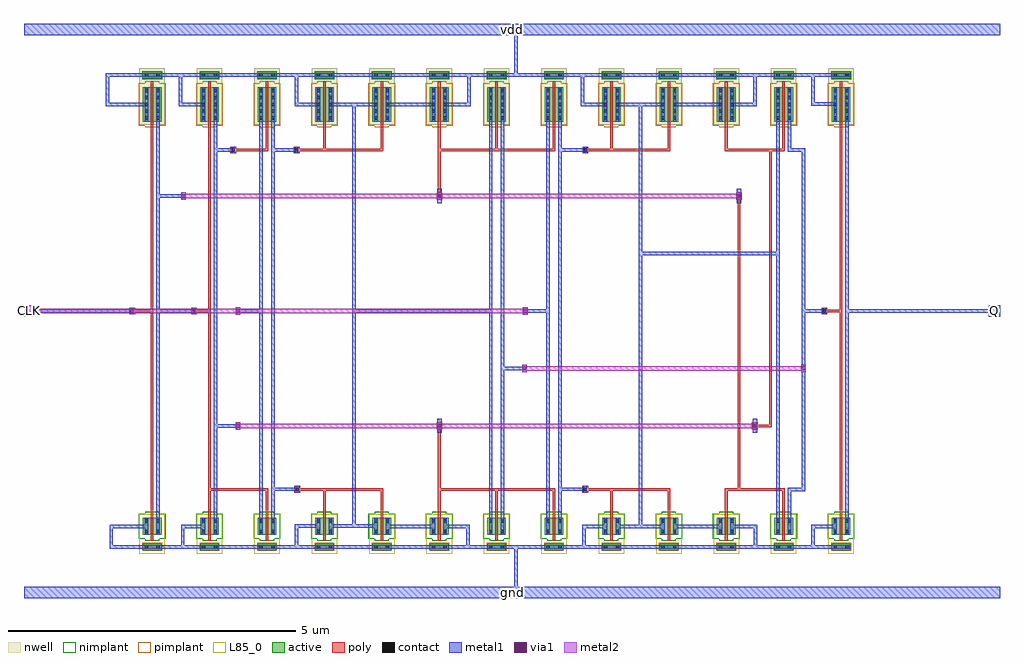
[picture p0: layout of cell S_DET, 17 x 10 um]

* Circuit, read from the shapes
.subckt S_DET CLK D Q gnd vdd
M1 nmos1v_3_CDNS_776248330161_18/D_drain_1 CLK gnd gnd nfet w=0.3u l=0.045u
M2 nmos1v_3_CDNS_776248330161_21/D_drain_1 nmos1v_3_CDNS_776248330161_18/D_drain_1 gnd gnd nfet w=0.3u l=0.045u
M3 pmos1v_3_CDNS_776248330160_4/D_drain_1 nmos1v_3_CDNS_776248330161_18/D_drain_1 D gnd nfet w=0.3u l=0.045u
M4 nmos1v_3_CDNS_776248330161_20/D_drain_1 pmos1v_3_CDNS_776248330160_4/D_drain_1 gnd gnd nfet w=0.3u l=0.045u
M5 nmos1v_3_CDNS_776248330161_19/D_drain_1 pmos1v_3_CDNS_776248330160_4/D_drain_1 nmos1v_3_CDNS_776248330161_20/D_drain_1 gnd nfet w=0.3u l=0.045u
M6 gnd nmos1v_3_CDNS_776248330161_21/D_drain_1 nmos1v_3_CDNS_776248330161_19/D_drain_1 gnd nfet w=0.3u l=0.045u
M7 pmos1v_3_CDNS_776248330160_0/D_drain_1 nmos1v_3_CDNS_776248330161_21/D_drain_1 nmos1v_3_CDNS_776248330161_20/D_drain_1 gnd nfet w=0.3u l=0.045u
M8 pmos1v_3_CDNS_776248330160_2/D_drain_1 nmos1v_3_CDNS_776248330161_21/D_drain_1 D gnd nfet w=0.3u l=0.045u
M9 nmos1v_3_CDNS_776248330161_15/D_drain_1 pmos1v_3_CDNS_776248330160_2/D_drain_1 gnd gnd nfet w=0.3u l=0.045u
M10 nmos1v_3_CDNS_776248330161_14/D_drain_1 pmos1v_3_CDNS_776248330160_2/D_drain_1 nmos1v_3_CDNS_776248330161_15/D_drain_1 gnd nfet w=0.3u l=0.045u
M11 gnd nmos1v_3_CDNS_776248330161_18/D_drain_1 nmos1v_3_CDNS_776248330161_14/D_drain_1 gnd nfet w=0.3u l=0.045u
M12 pmos1v_3_CDNS_776248330160_0/D_drain_1 nmos1v_3_CDNS_776248330161_18/D_drain_1 nmos1v_3_CDNS_776248330161_15/D_drain_1 gnd nfet w=0.3u l=0.045u
M13 Q pmos1v_3_CDNS_776248330160_0/D_drain_1 gnd gnd nfet w=0.3u l=0.045u
M14 nmos1v_3_CDNS_776248330161_18/D_drain_1 CLK vdd vdd pfet w=0.6u l=0.045u
M15 nmos1v_3_CDNS_776248330161_21/D_drain_1 nmos1v_3_CDNS_776248330161_18/D_drain_1 vdd vdd pfet w=0.6u l=0.045u
M16 pmos1v_3_CDNS_776248330160_4/D_drain_1 nmos1v_3_CDNS_776248330161_21/D_drain_1 D vdd pfet w=0.6u l=0.045u
M17 nmos1v_3_CDNS_776248330161_20/D_drain_1 pmos1v_3_CDNS_776248330160_4/D_drain_1 vdd vdd pfet w=0.6u l=0.045u
M18 pmos1v_3_CDNS_776248330160_7/D_drain_1 pmos1v_3_CDNS_776248330160_4/D_drain_1 nmos1v_3_CDNS_776248330161_20/D_drain_1 vdd pfet w=0.6u l=0.045u
M19 vdd nmos1v_3_CDNS_776248330161_18/D_drain_1 pmos1v_3_CDNS_776248330160_7/D_drain_1 vdd pfet w=0.6u l=0.045u
M20 pmos1v_3_CDNS_776248330160_0/D_drain_1 nmos1v_3_CDNS_776248330161_18/D_drain_1 nmos1v_3_CDNS_776248330161_20/D_drain_1 vdd pfet w=0.6u l=0.045u
M21 pmos1v_3_CDNS_776248330160_2/D_drain_1 nmos1v_3_CDNS_776248330161_18/D_drain_1 D vdd pfet w=0.6u l=0.045u
M22 nmos1v_3_CDNS_776248330161_15/D_drain_1 pmos1v_3_CDNS_776248330160_2/D_drain_1 vdd vdd pfet w=0.6u l=0.045u
M23 pmos1v_3_CDNS_776248330160_12/D_drain_1 pmos1v_3_CDNS_776248330160_2/D_drain_1 nmos1v_3_CDNS_776248330161_15/D_drain_1 vdd pfet w=0.6u l=0.045u
M24 vdd nmos1v_3_CDNS_776248330161_21/D_drain_1 pmos1v_3_CDNS_776248330160_12/D_drain_1 vdd pfet w=0.6u l=0.045u
M25 pmos1v_3_CDNS_776248330160_0/D_drain_1 nmos1v_3_CDNS_776248330161_21/D_drain_1 nmos1v_3_CDNS_776248330161_15/D_drain_1 vdd pfet w=0.6u l=0.045u
M26 Q pmos1v_3_CDNS_776248330160_0/D_drain_1 vdd vdd pfet w=0.6u l=0.045u
.ends

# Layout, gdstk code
from math import pi, radians
import gdstk
lib = gdstk.Library(unit=1e-6, precision=5e-10)
def R(c, l, rs):  # rectangles x0, y0, x1, y1
    for r in rs: c.add(gdstk.rectangle(r[:2], r[2:], *l))
def A(c, l, x, y, w, h, nx, ny, dx, dy):  # array of equal rectangles
    R(c, l, [(x+i*dx, y+j*dy, x+i*dx+w, y+j*dy+h) for i in range(nx) for j in range(ny)])
def P(c, l, *ps):  # polygons
    for p in ps: c.add(gdstk.Polygon(p, *l))
active = (1, 0)
nwell = (2, 0)
poly = (3, 0)
nimplant = (4, 0)
pimplant = (5, 0)
contact = (6, 0)
metal1 = (7, 0)
via1 = (8, 0)
metal2 = (9, 0)
L85_0 = (85, 0)

pmos1v_3_cdns_7762483301 = lib.new_cell('pmos1v_3_CDNS_776248330160')
R(pmos1v_3_cdns_7762483301, active, [(-0.14,0,0,0.6), (0,0,0.045,0.6), (0.045,0,0.185,0.6), (-0.14,0.75,0.185,0.87)])
R(pmos1v_3_cdns_7762483301, nwell, [(-0.2,-0.06,0.245,0.93)])
R(pmos1v_3_cdns_7762483301, poly, [(0,-0.1,0.045,-0.05), (0,-0.05,0.045,0), (0,0,0.045,0.6), (0,0.6,0.045,0.65), (0,0.65,0.045,0.7)])
R(pmos1v_3_cdns_7762483301, nimplant, [(-0.15,0.74,0.195,0.88)])
R(pmos1v_3_cdns_7762483301, pimplant, [(-0.1,-0.1,0.145,0.7), (-0.21,-0.07,0.255,0.67)])
A(pmos1v_3_cdns_7762483301, contact, -0.11, 0.03, 0.06, 0.06, 1, 5, 0, 0.12)
A(pmos1v_3_cdns_7762483301, contact, 0.095, 0.03, 0.06, 0.06, 1, 5, 0, 0.12)
R(pmos1v_3_cdns_7762483301, contact, [(-0.11,0.78,-0.05,0.84), (0.095,0.78,0.155,0.84)])
R(pmos1v_3_cdns_7762483301, metal1, [(-0.11,0,-0.05,0.6), (0.095,0,0.155,0.6), (-0.14,0.78,0.185,0.84)])
pmos1v_3_cdns_7762483301.add(gdstk.Label('B_topTap', (0.0225,0.81), layer=1, texttype=0))
pmos1v_3_cdns_7762483301.add(gdstk.Label('D_drain_1', (0.115,0.3), layer=1, texttype=0))
pmos1v_3_cdns_7762483301.add(gdstk.Label('S_source_0', (-0.07,0.3), layer=1, texttype=0))
pmos1v_3_cdns_7762483301.add(gdstk.Label('G_gate_1', (0.0225,-0.075), layer=3, texttype=0))
pmos1v_3_cdns_7762483301.add(gdstk.Label('G_gate_1', (0.0225,0.675), layer=3, texttype=0))
pmos1v_3_cdns_7762483301.add(gdstk.Label('B_topTap', (0.0225,0.81), layer=7, texttype=0))
pmos1v_3_cdns_7762483301.add(gdstk.Label('D_drain_1', (0.125,0.3), layer=7, texttype=0))
pmos1v_3_cdns_7762483301.add(gdstk.Label('S_source_0', (-0.08,0.3), layer=7, texttype=0))
pmos1v_3_cdns_7762483301.add(gdstk.Label('B_topTap', (0.0225,0.435), layer=2, texttype=0))

nmos1v_3_cdns_7762483301 = lib.new_cell('nmos1v_3_CDNS_776248330161')
R(nmos1v_3_cdns_7762483301, active, [(-0.14,-0.27,0.185,-0.15), (-0.14,0,0,0.3), (0,0,0.045,0.3), (0.045,0,0.185,0.3)])
R(nmos1v_3_cdns_7762483301, poly, [(0,-0.1,0.045,-0.05), (0,-0.05,0.045,0), (0,0,0.045,0.3), (0,0.3,0.045,0.35), (0,0.35,0.045,0.4)])
R(nmos1v_3_cdns_7762483301, nimplant, [(-0.1,-0.1,0.145,0.4), (-0.21,-0.07,0.255,0.37)])
R(nmos1v_3_cdns_7762483301, pimplant, [(-0.15,-0.28,0.195,-0.14)])
R(nmos1v_3_cdns_7762483301, contact, [(-0.11,-0.24,-0.05,-0.18), (0.095,-0.24,0.155,-0.18), (-0.11,0.03,-0.05,0.09), (0.095,0.03,0.155,0.09), (-0.11,0.21,-0.05,0.27), (0.095,0.21,0.155,0.27)])
R(nmos1v_3_cdns_7762483301, metal1, [(-0.14,-0.24,0.185,-0.18), (-0.11,0,-0.05,0.3), (0.095,0,0.155,0.3)])
R(nmos1v_3_cdns_7762483301, L85_0, [(-0.2,-0.33,0.245,0.36)])
nmos1v_3_cdns_7762483301.add(gdstk.Label('B_botTap', (0.0225,-0.21), layer=1, texttype=0))
nmos1v_3_cdns_7762483301.add(gdstk.Label('D_drain_1', (0.115,0.15), layer=1, texttype=0))
nmos1v_3_cdns_7762483301.add(gdstk.Label('S_source_0', (-0.07,0.15), layer=1, texttype=0))
nmos1v_3_cdns_7762483301.add(gdstk.Label('G_gate_1', (0.0225,-0.075), layer=3, texttype=0))
nmos1v_3_cdns_7762483301.add(gdstk.Label('G_gate_1', (0.0225,0.375), layer=3, texttype=0))
nmos1v_3_cdns_7762483301.add(gdstk.Label('B_botTap', (0.0225,-0.21), layer=7, texttype=0))
nmos1v_3_cdns_7762483301.add(gdstk.Label('D_drain_1', (0.125,0.15), layer=7, texttype=0))
nmos1v_3_cdns_7762483301.add(gdstk.Label('S_source_0', (-0.08,0.15), layer=7, texttype=0))
nmos1v_3_cdns_7762483301.add(gdstk.Label('B_botTap', (0.0225,0.015), layer=85, texttype=0))

m1_po_cdns_776248330160 = lib.new_cell('M1_PO_CDNS_776248330160')
R(m1_po_cdns_776248330160, poly, [(-0.05,-0.06,0.05,0.06)])
R(m1_po_cdns_776248330160, contact, [(-0.03,-0.03,0.03,0.03)])
R(m1_po_cdns_776248330160, metal1, [(-0.03,-0.06,0.03,0.06)])

m2_m1_cdns_776248330161 = lib.new_cell('M2_M1_CDNS_776248330161')
R(m2_m1_cdns_776248330161, metal1, [(-0.04,-0.065,0.04,0.065)])
R(m2_m1_cdns_776248330161, via1, [(-0.035,-0.035,0.035,0.035)])
R(m2_m1_cdns_776248330161, metal2, [(-0.04,-0.065,0.04,0.065)])

m2_m1_cdns_776248330162 = lib.new_cell('M2_M1_CDNS_776248330162')
R(m2_m1_cdns_776248330162, metal1, [(-0.04,-0.125,0.04,0.125)])
R(m2_m1_cdns_776248330162, via1, [(-0.035,-0.035,0.035,0.035)])
R(m2_m1_cdns_776248330162, metal2, [(-0.04,-0.065,0.04,0.065)])

m1_po_cdns_776248330163 = lib.new_cell('M1_PO_CDNS_776248330163')
R(m1_po_cdns_776248330163, poly, [(-0.05,-0.06,0.05,0.06)])
R(m1_po_cdns_776248330163, contact, [(-0.03,-0.03,0.03,0.03)])
R(m1_po_cdns_776248330163, metal1, [(-0.04,-0.125,0.04,0.125)])

s_det = lib.new_cell('S_DET')
P(s_det, poly, [(4.75,7.78),(4.75,7.825),(6.245,7.825),(6.255,7.815),(6.255,7.79),(6.245,7.78)],
  [(6.22,7.78),(6.21,7.79),(6.21,8.2),(6.255,8.2),(6.255,7.79),(6.245,7.78)])
R(s_det, metal1, [(0,0,17,0.2), (0,4.9,0.2,5.1), (16.8,4.9,17,5.1), (0,9.8,17,10)])
R(s_det, metal2, [(0,4.9,0.2,5.1)])
s_det.add(gdstk.FlexPath([(13.0025,2.9975),(13.0025,7.8025)], 0.045, ends="extended", simple_path=True, layer=3, datatype=0))  # poly
s_det.add(gdstk.FlexPath([(12.2325,1.8925),(12.4525,1.8925)], 0.045, ends="extended", simple_path=True, layer=3, datatype=0))  # poly
s_det.add(gdstk.FlexPath([(12.4525,1.8925),(13.2325,1.8925)], 0.045, ends="extended", simple_path=True, layer=3, datatype=0))  # poly
s_det.add(gdstk.FlexPath([(12.73,2.9975),(13.0025,2.9975)], 0.045, ends=(0, 0.0225), simple_path=True, layer=3, datatype=0))  # poly
s_det.add(gdstk.FlexPath([(13.0025,7.8025),(13.2325,7.8025)], 0.045, ends="extended", simple_path=True, layer=3, datatype=0))  # poly
s_det.add(gdstk.FlexPath([(14.2325,8.2),(14.2325,4.9975)], 0.045, ends=(0, 0.0225), simple_path=True, layer=3, datatype=0))  # poly
s_det.add(gdstk.FlexPath([(13.945,4.9975),(14.2325,4.9975)], 0.045, ends=(0, 0.0225), simple_path=True, layer=3, datatype=0))  # poly
s_det.add(gdstk.FlexPath([(7.2325,1.8925),(7.2325,3)], 0.045, ends=(0.0225, 0), simple_path=True, layer=3, datatype=0))  # poly
s_det.add(gdstk.FlexPath([(7.2325,7.8025),(9.2325,7.8025)], 0.045, ends="extended", simple_path=True, layer=3, datatype=0))  # poly
s_det.add(gdstk.FlexPath([(7.2325,7.8025),(7.2325,7.01)], 0.045, ends=(0.0225, 0), simple_path=True, layer=3, datatype=0))  # poly
s_det.add(gdstk.FlexPath([(11.2325,1.8925),(9.775,1.8925)], 0.045, ends=(0.0225, 0), simple_path=True, layer=3, datatype=0))  # poly
s_det.add(gdstk.FlexPath([(1.885,4.9975),(2.2325,4.9975)], 0.045, ends=(0, 0.0225), simple_path=True, layer=3, datatype=0))  # poly
s_det.add(gdstk.FlexPath([(2.2325,8.2),(2.2325,4.9975)], 0.045, ends=(0, 0.0225), simple_path=True, layer=3, datatype=0))  # poly
s_det.add(gdstk.FlexPath([(3.2325,1.8925),(3.2325,4.9975)], 0.045, ends="extended", simple_path=True, layer=3, datatype=0))  # poly
s_det.add(gdstk.FlexPath([(2.96,4.9975),(3.2325,4.9975)], 0.045, ends=(0, 0.0225), simple_path=True, layer=3, datatype=0))  # poly
s_det.add(gdstk.FlexPath([(4.2325,7.8025),(3.645,7.8025)], 0.045, ends=(0.0225, 0), simple_path=True, layer=3, datatype=0))  # poly
s_det.add(gdstk.FlexPath([(4.2325,8.2),(4.2325,7.8025)], 0.045, ends=(0, 0.0225), simple_path=True, layer=3, datatype=0))  # poly
s_det.add(gdstk.FlexPath([(4.2325,1.5),(4.2325,1.8925)], 0.045, ends=(0, 0.0225), simple_path=True, layer=3, datatype=0))  # poly
s_det.add(gdstk.FlexPath([(3.2325,1.5),(3.2325,1.8925)], 0.045, ends=(0, 0.0225), simple_path=True, layer=3, datatype=0))  # poly
s_det.add(gdstk.FlexPath([(4.2325,1.8925),(3.2325,1.8925)], 0.045, ends="extended", simple_path=True, layer=3, datatype=0))  # poly
s_det.add(gdstk.FlexPath([(6.2325,1.8925),(4.76,1.8925)], 0.045, ends=(0.0225, 0), simple_path=True, layer=3, datatype=0))  # poly
s_det.add(gdstk.FlexPath([(11.2325,1.5),(11.2325,1.8925)], 0.045, ends=(0, 0.0225), simple_path=True, layer=3, datatype=0))  # poly
s_det.add(gdstk.FlexPath([(10.2325,1.5),(10.2325,1.8925)], 0.045, ends=(0, 0.0225), simple_path=True, layer=3, datatype=0))  # poly
s_det.add(gdstk.FlexPath([(13.2325,1.8925),(13.2325,1.5)], 0.045, ends=(0.0225, 0), simple_path=True, layer=3, datatype=0))  # poly
s_det.add(gdstk.FlexPath([(12.4525,7.005),(12.4525,1.8925)], 0.045, ends=(0, 0.0225), simple_path=True, layer=3, datatype=0))  # poly
s_det.add(gdstk.FlexPath([(12.2325,1.5),(12.2325,1.8925)], 0.045, ends=(0, 0.0225), simple_path=True, layer=3, datatype=0))  # poly
s_det.add(gdstk.FlexPath([(14.2325,4.9975),(14.2325,1.5)], 0.045, ends=(0.0225, 0), simple_path=True, layer=3, datatype=0))  # poly
s_det.add(gdstk.FlexPath([(13.2325,7.8025),(13.2325,8.2)], 0.045, ends=(0.0225, 0), simple_path=True, layer=3, datatype=0))  # poly
s_det.add(gdstk.FlexPath([(12.2325,7.8025),(13.0025,7.8025)], 0.045, ends="extended", simple_path=True, layer=3, datatype=0))  # poly
s_det.add(gdstk.FlexPath([(12.2325,8.2),(12.2325,7.8025)], 0.045, ends=(0, 0.0225), simple_path=True, layer=3, datatype=0))  # poly
s_det.add(gdstk.FlexPath([(11.2325,8.2),(11.2325,7.8025)], 0.045, ends=(0, 0.0225), simple_path=True, layer=3, datatype=0))  # poly
s_det.add(gdstk.FlexPath([(9.2325,1.8925),(7.2325,1.8925)], 0.045, ends="extended", simple_path=True, layer=3, datatype=0))  # poly
s_det.add(gdstk.FlexPath([(9.2325,1.5),(9.2325,1.8925)], 0.045, ends=(0, 0.0225), simple_path=True, layer=3, datatype=0))  # poly
s_det.add(gdstk.FlexPath([(8.2325,7.8025),(8.2325,8.2)], 0.045, ends=(0.0225, 0), simple_path=True, layer=3, datatype=0))  # poly
s_det.add(gdstk.FlexPath([(10.2325,8.2),(10.2325,7.8025)], 0.045, ends=(0, 0.0225), simple_path=True, layer=3, datatype=0))  # poly
s_det.add(gdstk.FlexPath([(7.2325,8.2),(7.2325,7.8025)], 0.045, ends=(0, 0.0225), simple_path=True, layer=3, datatype=0))  # poly
s_det.add(gdstk.FlexPath([(8.2325,1.8925),(8.2325,1.5)], 0.045, ends=(0.0225, 0), simple_path=True, layer=3, datatype=0))  # poly
s_det.add(gdstk.FlexPath([(9.2325,7.8025),(9.2325,8.2)], 0.045, ends=(0.0225, 0), simple_path=True, layer=3, datatype=0))  # poly
s_det.add(gdstk.FlexPath([(7.2325,1.5),(7.2325,1.8925)], 0.045, ends=(0, 0.0225), simple_path=True, layer=3, datatype=0))  # poly
s_det.add(gdstk.FlexPath([(6.2325,1.5),(6.2325,1.8925)], 0.045, ends=(0, 0.0225), simple_path=True, layer=3, datatype=0))  # poly
s_det.add(gdstk.FlexPath([(5.2325,1.5),(5.2325,1.8925)], 0.045, ends=(0, 0.0225), simple_path=True, layer=3, datatype=0))  # poly
s_det.add(gdstk.FlexPath([(11.2325,7.8025),(9.78,7.8025)], 0.045, ends=(0.0225, 0), simple_path=True, layer=3, datatype=0))  # poly
s_det.add(gdstk.FlexPath([(5.2325,8.2),(5.2325,7.8025)], 0.045, ends=(0, 0.0225), simple_path=True, layer=3, datatype=0))  # poly
s_det.add(gdstk.FlexPath([(3.2325,4.9975),(3.2325,8.2)], 0.045, ends=(0.0225, 0), simple_path=True, layer=3, datatype=0))  # poly
s_det.add(gdstk.FlexPath([(2.2325,4.9975),(2.2325,1.5)], 0.045, ends=(0.0225, 0), simple_path=True, layer=3, datatype=0))  # poly
s_det.add(gdstk.FlexPath([(13.335,7.805),(13.335,8.3)], 0.06, ends=(0.03, 0), simple_path=True, layer=7, datatype=0))  # metal1
s_det.add(gdstk.FlexPath([(13.58,7.805),(13.335,7.805)], 0.06, ends="extended", simple_path=True, layer=7, datatype=0))  # metal1
s_det.add(gdstk.FlexPath([(13.335,1.4),(13.335,1.89)], 0.06, ends=(0, 0.03), simple_path=True, layer=7, datatype=0))  # metal1
s_det.add(gdstk.FlexPath([(13.335,1.89),(13.58,1.89)], 0.06, ends="extended", simple_path=True, layer=7, datatype=0))  # metal1
s_det.add(gdstk.FlexPath([(8.715,4),(8.335,4)], 0.06, ends=(0, 0.03), simple_path=True, layer=7, datatype=0))  # metal1
s_det.add(gdstk.FlexPath([(8.335,4),(8.335,1.4)], 0.06, ends=(0.03, 0), simple_path=True, layer=7, datatype=0))  # metal1
s_det.add(gdstk.FlexPath([(13.58,5),(13.58,7.805)], 0.06, ends="extended", simple_path=True, layer=7, datatype=0))  # metal1
s_det.add(gdstk.FlexPath([(13.58,5),(13.945,5)], 0.06, ends=(0.03, 0), simple_path=True, layer=7, datatype=0))  # metal1
s_det.add(gdstk.FlexPath([(13.13,6),(10.74,6)], 0.06, ends="extended", simple_path=True, layer=7, datatype=0))  # metal1
s_det.add(gdstk.FlexPath([(10.74,8.6),(10.74,6)], 0.06, ends="extended", simple_path=True, layer=7, datatype=0))  # metal1
s_det.add(gdstk.FlexPath([(13.13,8.3),(13.13,6)], 0.06, ends=(0, 0.03), simple_path=True, layer=7, datatype=0))  # metal1
s_det.add(gdstk.FlexPath([(3.725,3),(3.335,3)], 0.06, ends=(0, 0.03), simple_path=True, layer=7, datatype=0))  # metal1
s_det.add(gdstk.FlexPath([(2.335,8.3),(2.335,7)], 0.06, ends=(0, 0.03), simple_path=True, layer=7, datatype=0))  # metal1
s_det.add(gdstk.FlexPath([(2.775,7),(2.335,7)], 0.06, ends=(0, 0.03), simple_path=True, layer=7, datatype=0))  # metal1
s_det.add(gdstk.FlexPath([(8.13,1.4),(8.13,5)], 0.06, ends=(0, 0.03), simple_path=True, layer=7, datatype=0))  # metal1
s_det.add(gdstk.FlexPath([(5.745,5),(8.13,5)], 0.06, ends="extended", simple_path=True, layer=7, datatype=0))  # metal1
s_det.add(gdstk.FlexPath([(9.335,7.805),(9.335,1.895)], 0.06, ends="extended", simple_path=True, layer=7, datatype=0))  # metal1
s_det.add(gdstk.FlexPath([(9.13,5),(8.73,5)], 0.06, ends=(0.03, 0), simple_path=True, layer=7, datatype=0))  # metal1
s_det.add(gdstk.FlexPath([(9.13,1.4),(9.13,5)], 0.06, ends=(0, 0.03), simple_path=True, layer=7, datatype=0))  # metal1
s_det.add(gdstk.FlexPath([(14.335,8.3),(14.335,5)], 0.06, ends=(0, 0.03), simple_path=True, layer=7, datatype=0))  # metal1
s_det.add(gdstk.FlexPath([(14.335,5),(16.8,5)], 0.06, ends=(0.03, 0), simple_path=True, layer=7, datatype=0))  # metal1
s_det.add(gdstk.FlexPath([(14.335,5),(14.335,1.4)], 0.06, ends=(0.03, 0), simple_path=True, layer=7, datatype=0))  # metal1
s_det.add(gdstk.FlexPath([(4.13,5),(3.725,5)], 0.06, ends=(0.03, 0), simple_path=True, layer=7, datatype=0))  # metal1
s_det.add(gdstk.FlexPath([(4.13,1.4),(4.13,8.3)], 0.06, ends="flush", simple_path=True, layer=7, datatype=0))  # metal1
s_det.add(gdstk.FlexPath([(1.885,5),(0.2,5)], 0.06, ends="flush", simple_path=True, layer=7, datatype=0))  # metal1
s_det.add(gdstk.FlexPath([(2.335,7),(2.335,5)], 0.06, ends="extended", simple_path=True, layer=7, datatype=0))  # metal1
s_det.add(gdstk.FlexPath([(2.96,5),(2.335,5)], 0.06, ends=(0, 0.03), simple_path=True, layer=7, datatype=0))  # metal1
s_det.add(gdstk.FlexPath([(3.335,8.3),(3.335,7.805)], 0.06, ends=(0, 0.03), simple_path=True, layer=7, datatype=0))  # metal1
s_det.add(gdstk.FlexPath([(3.645,7.805),(3.335,7.805)], 0.06, ends=(0, 0.03), simple_path=True, layer=7, datatype=0))  # metal1
s_det.add(gdstk.FlexPath([(13.58,1.89),(13.58,5)], 0.06, ends="extended", simple_path=True, layer=7, datatype=0))  # metal1
s_det.add(gdstk.FlexPath([(13.13,6),(13.13,1.4)], 0.06, ends=(0.03, 0), simple_path=True, layer=7, datatype=0))  # metal1
s_det.add(gdstk.FlexPath([(11.1,1.245),(10.74,1.245)], 0.06, ends=(0, 0.03), simple_path=True, layer=7, datatype=0))  # metal1
s_det.add(gdstk.FlexPath([(10.74,6),(10.74,1.245)], 0.06, ends="extended", simple_path=True, layer=7, datatype=0))  # metal1
s_det.add(gdstk.FlexPath([(10.74,8.6),(10.365,8.6)], 0.06, ends=(0.03, 0), simple_path=True, layer=7, datatype=0))  # metal1
s_det.add(gdstk.FlexPath([(9.335,1.895),(9.335,1.4)], 0.06, ends=(0.03, 0), simple_path=True, layer=7, datatype=0))  # metal1
s_det.add(gdstk.FlexPath([(9.13,5),(9.13,8.3)], 0.06, ends=(0.03, 0), simple_path=True, layer=7, datatype=0))  # metal1
s_det.add(gdstk.FlexPath([(8.335,8.3),(8.335,4)], 0.06, ends=(0, 0.03), simple_path=True, layer=7, datatype=0))  # metal1
s_det.add(gdstk.FlexPath([(8.13,5),(8.13,8.3)], 0.06, ends=(0.03, 0), simple_path=True, layer=7, datatype=0))  # metal1
s_det.add(gdstk.FlexPath([(6.1,1.255),(5.745,1.255)], 0.06, ends=(0, 0.03), simple_path=True, layer=7, datatype=0))  # metal1
s_det.add(gdstk.FlexPath([(5.745,8.6),(5.745,5)], 0.06, ends="extended", simple_path=True, layer=7, datatype=0))  # metal1
s_det.add(gdstk.FlexPath([(5.745,8.6),(6.1,8.6)], 0.06, ends=(0.03, 0), simple_path=True, layer=7, datatype=0))  # metal1
s_det.add(gdstk.FlexPath([(5.745,1.255),(5.365,1.255)], 0.06, ends=(0.03, 0), simple_path=True, layer=7, datatype=0))  # metal1
s_det.add(gdstk.FlexPath([(7.1,1.25),(6.365,1.25)], 0.06, ends="flush", simple_path=True, layer=7, datatype=0))  # metal1
s_det.add(gdstk.FlexPath([(12.1,1.245),(11.365,1.245)], 0.06, ends="flush", simple_path=True, layer=7, datatype=0))  # metal1
s_det.add(gdstk.FlexPath([(10.74,1.245),(10.365,1.245)], 0.06, ends=(0.03, 0), simple_path=True, layer=7, datatype=0))  # metal1
s_det.add(gdstk.FlexPath([(12.1,8.6),(11.365,8.6)], 0.06, ends="flush", simple_path=True, layer=7, datatype=0))  # metal1
s_det.add(gdstk.FlexPath([(11.1,8.6),(10.74,8.6)], 0.06, ends=(0, 0.03), simple_path=True, layer=7, datatype=0))  # metal1
s_det.add(gdstk.FlexPath([(7.1,8.6),(6.365,8.6)], 0.06, ends="flush", simple_path=True, layer=7, datatype=0))  # metal1
s_det.add(gdstk.FlexPath([(5.365,8.6),(5.745,8.6)], 0.06, ends=(0, 0.03), simple_path=True, layer=7, datatype=0))  # metal1
s_det.add(gdstk.FlexPath([(4.75,1.255),(5.1,1.255)], 0.06, ends=(0.03, 0), simple_path=True, layer=7, datatype=0))  # metal1
s_det.add(gdstk.FlexPath([(4.75,0.89),(4.75,1.255)], 0.06, ends="extended", simple_path=True, layer=7, datatype=0))  # metal1
s_det.add(gdstk.FlexPath([(2.765,0.89),(4.75,0.89)], 0.06, ends="extended", simple_path=True, layer=7, datatype=0))  # metal1
s_det.add(gdstk.FlexPath([(7.73,1.25),(7.365,1.25)], 0.06, ends=(0.03, 0), simple_path=True, layer=7, datatype=0))  # metal1
s_det.add(gdstk.FlexPath([(7.73,0.89),(7.73,1.25)], 0.06, ends="extended", simple_path=True, layer=7, datatype=0))  # metal1
s_det.add(gdstk.FlexPath([(7.73,0.89),(8.57,0.89)], 0.06, ends="extended", simple_path=True, layer=7, datatype=0))  # metal1
s_det.add(gdstk.FlexPath([(9.755,1.25),(10.1,1.25)], 0.06, ends=(0.03, 0), simple_path=True, layer=7, datatype=0))  # metal1
s_det.add(gdstk.FlexPath([(9.755,0.89),(9.755,1.25)], 0.06, ends="extended", simple_path=True, layer=7, datatype=0))  # metal1
s_det.add(gdstk.FlexPath([(9.755,0.89),(12.74,0.89)], 0.06, ends="extended", simple_path=True, layer=7, datatype=0))  # metal1
s_det.add(gdstk.FlexPath([(12.74,1.25),(12.365,1.25)], 0.06, ends=(0.03, 0), simple_path=True, layer=7, datatype=0))  # metal1
s_det.add(gdstk.FlexPath([(12.74,0.89),(12.74,1.25)], 0.06, ends="extended", simple_path=True, layer=7, datatype=0))  # metal1
s_det.add(gdstk.FlexPath([(12.74,0.89),(13.74,0.89)], 0.06, ends="extended", simple_path=True, layer=7, datatype=0))  # metal1
s_det.add(gdstk.FlexPath([(13.74,1.25),(14.1,1.25)], 0.06, ends=(0.03, 0), simple_path=True, layer=7, datatype=0))  # metal1
s_det.add(gdstk.FlexPath([(13.74,0.89),(13.74,1.25)], 0.06, ends="extended", simple_path=True, layer=7, datatype=0))  # metal1
s_det.add(gdstk.FlexPath([(13.74,0.89),(14.07,0.89)], 0.06, ends=(0.03, 0), simple_path=True, layer=7, datatype=0))  # metal1
s_det.add(gdstk.FlexPath([(13.74,8.605),(14.1,8.605)], 0.06, ends=(0.03, 0), simple_path=True, layer=7, datatype=0))  # metal1
s_det.add(gdstk.FlexPath([(13.74,9.11),(13.74,8.605)], 0.06, ends="extended", simple_path=True, layer=7, datatype=0))  # metal1
s_det.add(gdstk.FlexPath([(13.74,9.11),(14.07,9.11)], 0.06, ends=(0.03, 0), simple_path=True, layer=7, datatype=0))  # metal1
s_det.add(gdstk.FlexPath([(12.73,8.6),(12.365,8.6)], 0.06, ends=(0.03, 0), simple_path=True, layer=7, datatype=0))  # metal1
s_det.add(gdstk.FlexPath([(12.73,9.11),(12.73,8.6)], 0.06, ends="extended", simple_path=True, layer=7, datatype=0))  # metal1
s_det.add(gdstk.FlexPath([(12.73,9.11),(13.74,9.11)], 0.06, ends="extended", simple_path=True, layer=7, datatype=0))  # metal1
s_det.add(gdstk.FlexPath([(9.73,8.6),(10.1,8.6)], 0.06, ends=(0.03, 0), simple_path=True, layer=7, datatype=0))  # metal1
s_det.add(gdstk.FlexPath([(9.73,9.11),(9.73,8.6)], 0.06, ends="extended", simple_path=True, layer=7, datatype=0))  # metal1
s_det.add(gdstk.FlexPath([(9.73,9.11),(12.73,9.11)], 0.06, ends="extended", simple_path=True, layer=7, datatype=0))  # metal1
s_det.add(gdstk.FlexPath([(7.75,8.6),(7.365,8.6)], 0.06, ends=(0.03, 0), simple_path=True, layer=7, datatype=0))  # metal1
s_det.add(gdstk.FlexPath([(7.75,9.11),(7.75,8.6)], 0.06, ends="extended", simple_path=True, layer=7, datatype=0))  # metal1
s_det.add(gdstk.FlexPath([(7.75,9.11),(8.57,9.11)], 0.06, ends="extended", simple_path=True, layer=7, datatype=0))  # metal1
s_det.add(gdstk.FlexPath([(4.745,8.6),(5.1,8.6)], 0.06, ends=(0.03, 0), simple_path=True, layer=7, datatype=0))  # metal1
s_det.add(gdstk.FlexPath([(4.745,9.11),(4.745,8.6)], 0.06, ends="extended", simple_path=True, layer=7, datatype=0))  # metal1
s_det.add(gdstk.FlexPath([(4.745,9.11),(7.75,9.11)], 0.06, ends="extended", simple_path=True, layer=7, datatype=0))  # metal1
s_det.add(gdstk.FlexPath([(4.335,7.805),(4.335,1.895)], 0.06, ends="extended", simple_path=True, layer=7, datatype=0))  # metal1
s_det.add(gdstk.FlexPath([(5.745,5),(5.745,1.255)], 0.06, ends="extended", simple_path=True, layer=7, datatype=0))  # metal1
s_det.add(gdstk.FlexPath([(2.765,1.25),(3.1,1.25)], 0.06, ends=(0.03, 0), simple_path=True, layer=7, datatype=0))  # metal1
s_det.add(gdstk.FlexPath([(2.765,0.89),(2.765,1.25)], 0.06, ends="extended", simple_path=True, layer=7, datatype=0))  # metal1
s_det.add(gdstk.FlexPath([(4.75,0.89),(7.73,0.89)], 0.06, ends="extended", simple_path=True, layer=7, datatype=0))  # metal1
s_det.add(gdstk.FlexPath([(2.725,8.6),(3.1,8.6)], 0.06, ends=(0.03, 0), simple_path=True, layer=7, datatype=0))  # metal1
s_det.add(gdstk.FlexPath([(2.725,9.11),(2.725,8.6)], 0.06, ends="extended", simple_path=True, layer=7, datatype=0))  # metal1
s_det.add(gdstk.FlexPath([(2.725,9.11),(4.745,9.11)], 0.06, ends="extended", simple_path=True, layer=7, datatype=0))  # metal1
s_det.add(gdstk.FlexPath([(3.335,7.805),(3.335,3)], 0.06, ends="extended", simple_path=True, layer=7, datatype=0))  # metal1
s_det.add(gdstk.FlexPath([(2.335,5),(2.335,1.4)], 0.06, ends=(0.03, 0), simple_path=True, layer=7, datatype=0))  # metal1
s_det.add(gdstk.FlexPath([(1.52,1.25),(2.1,1.25)], 0.06, ends=(0.03, 0), simple_path=True, layer=7, datatype=0))  # metal1
s_det.add(gdstk.FlexPath([(1.52,0.89),(1.52,1.25)], 0.06, ends="extended", simple_path=True, layer=7, datatype=0))  # metal1
s_det.add(gdstk.FlexPath([(2.07,0.89),(1.52,0.89)], 0.06, ends=(0, 0.03), simple_path=True, layer=7, datatype=0))  # metal1
s_det.add(gdstk.FlexPath([(1.455,8.6),(2.1,8.6)], 0.06, ends=(0.03, 0), simple_path=True, layer=7, datatype=0))  # metal1
s_det.add(gdstk.FlexPath([(1.455,9.11),(1.455,8.6)], 0.06, ends="extended", simple_path=True, layer=7, datatype=0))  # metal1
s_det.add(gdstk.FlexPath([(2.07,9.11),(1.455,9.11)], 0.06, ends=(0, 0.03), simple_path=True, layer=7, datatype=0))  # metal1
s_det.add(gdstk.FlexPath([(4.335,1.895),(4.335,1.4)], 0.06, ends=(0.03, 0), simple_path=True, layer=7, datatype=0))  # metal1
s_det.add(gdstk.FlexPath([(9.775,1.895),(9.335,1.895)], 0.06, ends=(0, 0.03), simple_path=True, layer=7, datatype=0))  # metal1
s_det.add(gdstk.FlexPath([(4.76,1.895),(4.335,1.895)], 0.06, ends=(0, 0.03), simple_path=True, layer=7, datatype=0))  # metal1
s_det.add(gdstk.FlexPath([(9.78,7.805),(9.335,7.805)], 0.06, ends=(0, 0.03), simple_path=True, layer=7, datatype=0))  # metal1
s_det.add(gdstk.FlexPath([(3.335,3),(3.335,1.4)], 0.06, ends=(0.03, 0), simple_path=True, layer=7, datatype=0))  # metal1
s_det.add(gdstk.FlexPath([(4.335,8.3),(4.335,7.805)], 0.06, ends=(0, 0.03), simple_path=True, layer=7, datatype=0))  # metal1
s_det.add(gdstk.FlexPath([(9.335,8.3),(9.335,7.805)], 0.06, ends=(0, 0.03), simple_path=True, layer=7, datatype=0))  # metal1
s_det.add(gdstk.FlexPath([(4.75,7.805),(4.335,7.805)], 0.06, ends=(0, 0.03), simple_path=True, layer=7, datatype=0))  # metal1
s_det.add(gdstk.FlexPath([(8.57,0.89),(8.57,0.2)], 0.06, ends=(0.03, 0), simple_path=True, layer=7, datatype=0))  # metal1
s_det.add(gdstk.FlexPath([(8.57,0.89),(9.755,0.89)], 0.06, ends="extended", simple_path=True, layer=7, datatype=0))  # metal1
s_det.add(gdstk.FlexPath([(2.395,0.89),(2.765,0.89)], 0.06, ends=(0, 0.03), simple_path=True, layer=7, datatype=0))  # metal1
s_det.add(gdstk.FlexPath([(8.57,9.11),(8.57,9.8)], 0.06, ends=(0.03, 0), simple_path=True, layer=7, datatype=0))  # metal1
s_det.add(gdstk.FlexPath([(8.57,9.11),(9.73,9.11)], 0.06, ends="extended", simple_path=True, layer=7, datatype=0))  # metal1
s_det.add(gdstk.FlexPath([(2.395,9.11),(2.725,9.11)], 0.06, ends=(0, 0.03), simple_path=True, layer=7, datatype=0))  # metal1
s_det.add(gdstk.FlexPath([(13.58,4),(8.715,4)], 0.08, ends="flush", simple_path=True, layer=9, datatype=0))  # metal2
s_det.add(gdstk.FlexPath([(7.235,7),(12.455,7)], 0.08, ends="flush", simple_path=True, layer=9, datatype=0))  # metal2
s_det.add(gdstk.FlexPath([(7.235,3),(12.73,3)], 0.08, ends="flush", simple_path=True, layer=9, datatype=0))  # metal2
s_det.add(gdstk.FlexPath([(7.235,3),(3.725,3)], 0.08, ends="flush", simple_path=True, layer=9, datatype=0))  # metal2
s_det.add(gdstk.FlexPath([(7.235,7),(2.775,7)], 0.08, ends="flush", simple_path=True, layer=9, datatype=0))  # metal2
s_det.add(gdstk.FlexPath([(8.73,5),(3.725,5)], 0.08, ends="flush", simple_path=True, layer=9, datatype=0))  # metal2
s_det.add(gdstk.FlexPath([(3.725,5),(0.2,5)], 0.08, ends="flush", simple_path=True, layer=9, datatype=0))  # metal2
s_det.add(gdstk.Reference(pmos1v_3_cdns_7762483301, (13.21,8.3)))
s_det.add(gdstk.Reference(pmos1v_3_cdns_7762483301, (10.21,8.3)))
s_det.add(gdstk.Reference(pmos1v_3_cdns_7762483301, (9.21,8.3)))
s_det.add(gdstk.Reference(pmos1v_3_cdns_7762483301, (8.21,8.3)))
s_det.add(gdstk.Reference(pmos1v_3_cdns_7762483301, (4.21,8.3)))
s_det.add(gdstk.Reference(pmos1v_3_cdns_7762483301, (2.21,8.3)))
s_det.add(gdstk.Reference(pmos1v_3_cdns_7762483301, (11.255,8.3), rotation=pi, x_reflection=True))
s_det.add(gdstk.Reference(pmos1v_3_cdns_7762483301, (7.255,8.3), rotation=pi, x_reflection=True))
s_det.add(gdstk.Reference(pmos1v_3_cdns_7762483301, (14.21,8.3)))
s_det.add(gdstk.Reference(pmos1v_3_cdns_7762483301, (5.21,8.3)))
s_det.add(gdstk.Reference(pmos1v_3_cdns_7762483301, (3.21,8.3)))
s_det.add(gdstk.Reference(pmos1v_3_cdns_7762483301, (6.255,8.3), rotation=pi, x_reflection=True))
s_det.add(gdstk.Reference(pmos1v_3_cdns_7762483301, (12.255,8.3), rotation=pi, x_reflection=True))
s_det.add(gdstk.Reference(nmos1v_3_cdns_7762483301, (14.21,1.1)))
s_det.add(gdstk.Reference(nmos1v_3_cdns_7762483301, (12.255,1.1), rotation=pi, x_reflection=True))
s_det.add(gdstk.Reference(nmos1v_3_cdns_7762483301, (13.255,1.1), rotation=pi, x_reflection=True))
s_det.add(gdstk.Reference(nmos1v_3_cdns_7762483301, (11.255,1.1), rotation=pi, x_reflection=True))
s_det.add(gdstk.Reference(nmos1v_3_cdns_7762483301, (10.21,1.1)))
s_det.add(gdstk.Reference(nmos1v_3_cdns_7762483301, (2.21,1.1)))
s_det.add(gdstk.Reference(nmos1v_3_cdns_7762483301, (7.255,1.1), rotation=pi, x_reflection=True))
s_det.add(gdstk.Reference(nmos1v_3_cdns_7762483301, (5.21,1.1)))
s_det.add(gdstk.Reference(nmos1v_3_cdns_7762483301, (3.21,1.1)))
s_det.add(gdstk.Reference(nmos1v_3_cdns_7762483301, (6.255,1.1), rotation=pi, x_reflection=True))
s_det.add(gdstk.Reference(nmos1v_3_cdns_7762483301, (8.255,1.1), rotation=pi, x_reflection=True))
s_det.add(gdstk.Reference(nmos1v_3_cdns_7762483301, (4.255,1.1), rotation=pi, x_reflection=True))
s_det.add(gdstk.Reference(nmos1v_3_cdns_7762483301, (9.255,1.1), rotation=pi, x_reflection=True))
s_det.add(gdstk.Reference(m1_po_cdns_776248330160, (13.945,5)))
s_det.add(gdstk.Reference(m1_po_cdns_776248330160, (9.775,1.895)))
s_det.add(gdstk.Reference(m1_po_cdns_776248330160, (9.78,7.805)))
s_det.add(gdstk.Reference(m1_po_cdns_776248330160, (4.76,1.895)))
s_det.add(gdstk.Reference(m1_po_cdns_776248330160, (4.75,7.805)))
s_det.add(gdstk.Reference(m1_po_cdns_776248330160, (1.885,5)))
s_det.add(gdstk.Reference(m1_po_cdns_776248330160, (2.96,5)))
s_det.add(gdstk.Reference(m1_po_cdns_776248330160, (3.645,7.805)))
s_det.add(gdstk.Reference(m2_m1_cdns_776248330161, (13.58,4)))
s_det.add(gdstk.Reference(m2_m1_cdns_776248330161, (8.715,4)))
s_det.add(gdstk.Reference(m2_m1_cdns_776248330161, (3.725,3)))
s_det.add(gdstk.Reference(m2_m1_cdns_776248330161, (2.775,7)))
s_det.add(gdstk.Reference(m2_m1_cdns_776248330161, (8.73,5)))
s_det.add(gdstk.Reference(m2_m1_cdns_776248330161, (3.725,5)))
s_det.add(gdstk.Reference(m2_m1_cdns_776248330162, (12.455,7)))
s_det.add(gdstk.Reference(m2_m1_cdns_776248330162, (12.73,3)))
s_det.add(gdstk.Reference(m2_m1_cdns_776248330162, (7.235,3)))
s_det.add(gdstk.Reference(m2_m1_cdns_776248330162, (7.235,7)))
s_det.add(gdstk.Reference(m1_po_cdns_776248330163, (12.455,7)))
s_det.add(gdstk.Reference(m1_po_cdns_776248330163, (12.73,3)))
s_det.add(gdstk.Reference(m1_po_cdns_776248330163, (7.235,3)))
s_det.add(gdstk.Reference(m1_po_cdns_776248330163, (7.235,7)))
s_det.add(gdstk.Label('Q', (16.9,5), layer=7, texttype=0))
s_det.add(gdstk.Label('CLK', (0.1,5), layer=7, texttype=0))
s_det.add(gdstk.Label('gnd', (8.5,0.1), layer=7, texttype=0))
s_det.add(gdstk.Label('vdd', (8.5,9.9), layer=7, texttype=0))
s_det.add(gdstk.Label('D', (0.1,5), layer=9, texttype=0))

lib.write_gds('S_DET.gds')
